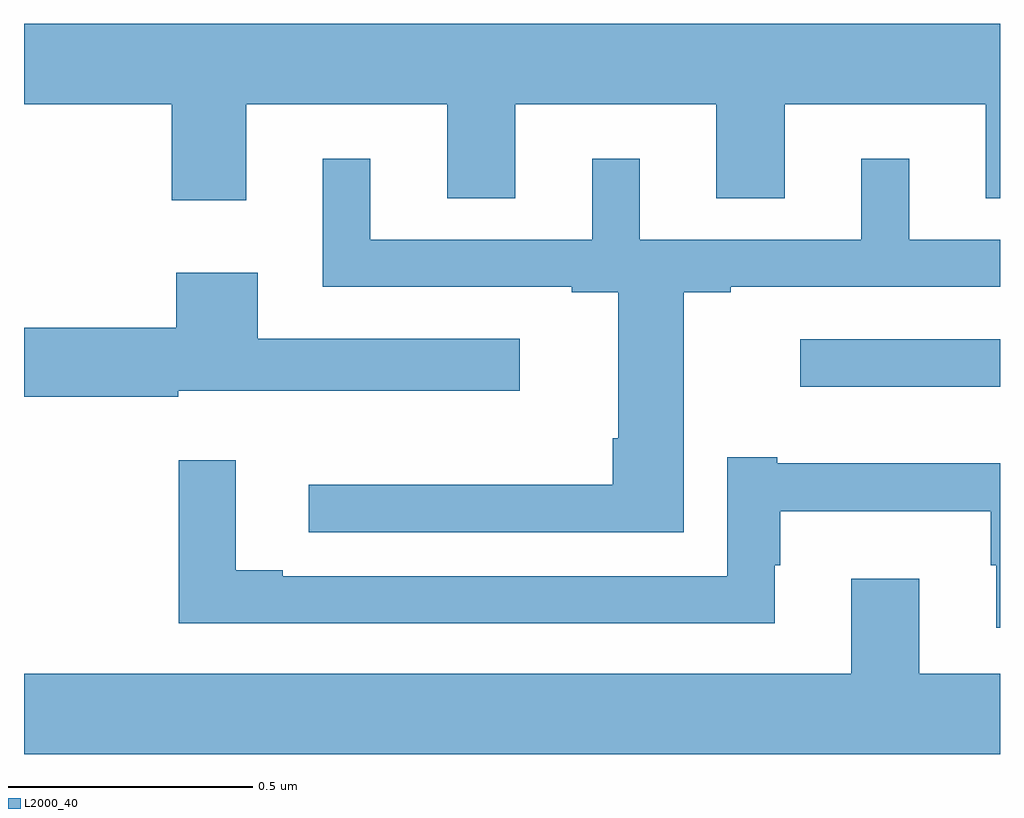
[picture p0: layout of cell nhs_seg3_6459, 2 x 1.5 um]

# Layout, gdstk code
import gdstk
lib = gdstk.Library(unit=1e-6, precision=1e-09)
def R(c, l, rs):  # rectangles x0, y0, x1, y1
    for r in rs: c.add(gdstk.rectangle(r[:2], r[2:], *l))
def P(c, l, *ps):  # polygons
    for p in ps: c.add(gdstk.Polygon(p, *l))
L2000_40 = (2000, 40)

nhs_seg3_6459 = lib.new_cell('nhs_seg3_6459')
R(nhs_seg3_6459, L2000_40, [(192.591,720.317,193,720.414)])
P(nhs_seg3_6459, L2000_40, [(191.455,720.896),(191.867,720.896),(191.867,720.703),(192.007,720.703),(192.007,720.896),(192.419,720.896),(192.419,720.703),(192.559,720.703),(192.559,720.896),(192.971,720.896),(192.971,720.703),(193,720.703),(193,721.06),(191,721.06),(191,720.896),(191.303,720.896),(191.303,720.699),(191.455,720.699)],
  [(192.352,720.51),(192.448,720.51),(192.448,720.522),(193,720.522),(193,720.618),(192.814,720.618),(192.814,720.784),(192.716,720.784),(192.716,720.618),(192.262,720.618),(192.262,720.784),(192.164,720.784),(192.164,720.618),(191.71,720.618),(191.71,720.784),(191.612,720.784),(191.612,720.522),(192.122,720.522),(192.122,720.51),(192.218,720.51),(192.218,720.211),(192.206,720.211),(192.206,720.116),(191.583,720.116),(191.583,720.018),(192.352,720.018)],
  [(191.316,720.308),(192.016,720.308),(192.016,720.415),(191.479,720.415),(191.479,720.55),(191.312,720.55),(191.312,720.438),(191,720.438),(191,720.296),(191.316,720.296)],
  [(193,720.16),(192.544,720.16),(192.544,720.172),(192.441,720.172),(192.441,719.928),(191.53,719.928),(191.53,719.941),(191.434,719.941),(191.434,720.166),(191.317,720.166),(191.317,719.832),(192.538,719.832),(192.538,719.951),(192.55,719.951),(192.55,720.062),(192.981,720.062),(192.981,719.951),(192.992,719.951),(192.992,719.823),(193,719.823)],
  [(193,719.728),(192.835,719.728),(192.835,719.923),(192.695,719.923),(192.695,719.728),(191,719.728),(191,719.564),(193,719.564)])

lib.write_gds('nhs_seg3_6459.gds')
